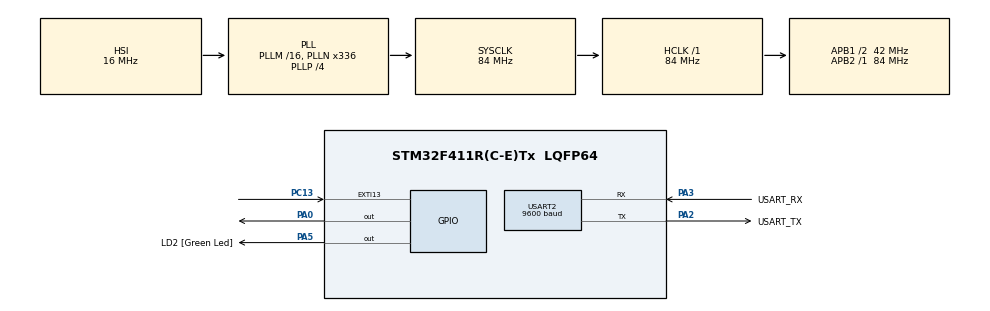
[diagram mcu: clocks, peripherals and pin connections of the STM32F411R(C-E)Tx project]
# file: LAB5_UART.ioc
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Dma.Request0=USART2_TX
Dma.USART2_TX.0.Direction=DMA_MEMORY_TO_PERIPH
Dma.USART2_TX.0.FIFOMode=DMA_FIFOMODE_DISABLE
Dma.USART2_TX.0.Instance=DMA1_Stream6
Dma.USART2_TX.0.MemDataAlignment=DMA_MDATAALIGN_BYTE
Dma.USART2_TX.0.MemInc=DMA_MINC_ENABLE
Dma.USART2_TX.0.Mode=DMA_NORMAL
Dma.USART2_TX.0.PeriphDataAlignment=DMA_PDATAALIGN_BYTE
Dma.USART2_TX.0.PeriphInc=DMA_PINC_DISABLE
Dma.USART2_TX.0.Priority=DMA_PRIORITY_LOW
Mcu.Family=STM32F4
Mcu.Name=STM32F411R(C-E)Tx
Mcu.Package=LQFP64
NVIC.DMA1_Stream6_IRQn=true\:0\:0\:false\:false\:true\:false\:true\:true
NVIC.EXTI15_10_IRQn=true\:0\:0\:false\:false\:true\:true\:true\:true
NVIC.PriorityGroup=NVIC_PRIORITYGROUP_0
NVIC.USART2_IRQn=true\:0\:0\:false\:false\:true\:true\:true\:true
PA0-WKUP.Signal=GPIO_Output
PA13.GPIO_Label=TMS
PA13.Mode=Serial_Wire
PA13.Signal=SYS_JTMS-SWDIO
PA14.GPIO_Label=TCK
PA14.Mode=Serial_Wire
PA14.Signal=SYS_JTCK-SWCLK
PA2.GPIO_Label=USART_TX
PA2.Mode=Asynchronous
PA2.Signal=USART2_TX
PA3.GPIO_Label=USART_RX
PA3.Mode=Asynchronous
PA3.Signal=USART2_RX
PA5.GPIO_Label=LD2 [Green Led]
PA5.Signal=GPIO_Output
PB3.GPIO_Label=SWO
PB3.Signal=SYS_JTDO-SWO
PC13-ANTI_TAMP.GPIO_ModeDefaultEXTI=GPIO_MODE_IT_RISING_FALLING
PC13-ANTI_TAMP.Signal=GPXTI13
PC14-OSC32_IN.Mode=LSE-External-Oscillator
PC14-OSC32_IN.Signal=RCC_OSC32_IN
PC15-OSC32_OUT.Mode=LSE-External-Oscillator
PC15-OSC32_OUT.Signal=RCC_OSC32_OUT
PH0\ -\ OSC_IN.Mode=HSE-External-Clock-Source
PH0\ -\ OSC_IN.Signal=RCC_OSC_IN
PH1\ -\ OSC_OUT.Mode=HSE-External-Clock-Source
PH1\ -\ OSC_OUT.Signal=RCC_OSC_OUT
ProjectManager.HeapSize=0x200
ProjectManager.StackSize=0x400
ProjectManager.TargetToolchain=STM32CubeIDE
RCC.48MHZClocksFreq_Value=84000000
RCC.AHBFreq_Value=84000000
RCC.APB1CLKDivider=RCC_HCLK_DIV2
RCC.APB1Freq_Value=42000000
RCC.APB1TimFreq_Value=84000000
RCC.APB2Freq_Value=84000000
RCC.APB2TimFreq_Value=84000000
RCC.CortexFreq_Value=84000000
RCC.FLatency-AdvancedSettings=FLASH_LATENCY_2
RCC.HCLKFreq_Value=84000000
RCC.HSE_VALUE=8000000
RCC.HSI_VALUE=16000000
RCC.PLLN=336
RCC.PLLP=RCC_PLLP_DIV4
RCC.SYSCLKFreq_VALUE=84000000
RCC.SYSCLKSource=RCC_SYSCLKSOURCE_PLLCLK
RCC.VCOOutputFreq_Value=336000000
USART2.BaudRate=9600
USART2.VirtualMode=VM_ASYNC
board=NUCLEO-F411RE

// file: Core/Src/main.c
/* USER CODE BEGIN Header */
/**
  ******************************************************************************
  * @file           : main.c
  * @brief          : Main program body
  ******************************************************************************
  * @attention
  *
  * Copyright (c) 2023 STMicroelectronics.
  * All rights reserved.
  *
  * This software is licensed under terms that can be found in the LICENSE file
  * in the root directory of this software component.
  * If no LICENSE file comes with this software, it is provided AS-IS.
  *
  ******************************************************************************
  */
/* USER CODE END Header */
#include "main.h"

/* USER CODE BEGIN Includes */
//Natchanon 17
#include "stdio.h"
#include "string.h"
/* USER CODE END Includes */

UART_HandleTypeDef huart2;
DMA_HandleTypeDef hdma_usart2_tx;

/* USER CODE BEGIN PV */
uint8_t RxBuffer[1];
uint8_t TxBuffer[400];
enum{menuhold,ledc,btns} state = menuhold;
int freq = 0;
int led = 1;
/* USER CODE END PV */

void SystemClock_Config(void);
static void MX_GPIO_Init(void);
static void MX_DMA_Init(void);
static void MX_USART2_UART_Init(void);
/* USER CODE BEGIN PFP */
void Menu();
void LEDTask();
void UARTInterruptConfig();
/* USER CODE END PFP */

int main(void)
{

  /* MCU Configuration--------------------------------------------------------*/

  /* Reset of all peripherals, Initializes the Flash interface and the Systick. */
  HAL_Init();

  /* Configure the system clock */
  SystemClock_Config();

  /* Initialize all configured peripherals */
  MX_GPIO_Init();
  MX_DMA_Init();
  MX_USART2_UART_Init();
  /* USER CODE BEGIN 2 */
  UARTInterruptConfig();
  sprintf((char*)TxBuffer,
		  	"\r\n"
		  	"\r\n"
		  	"\r\n"
			"====================================\r\n"
			"--------[F411RE Controller]--------\r\n"
			"Button 0 : LED Control\r\n"
			"Button 1 : Button Status\r\n"
			"Please select the function above...\r\n"
			"====================================\r\n"
			"\r\n");
  HAL_UART_Transmit_DMA(&huart2, TxBuffer, strlen((char*)TxBuffer));
  /* USER CODE END 2 */

  /* Infinite loop */
  while (1)
  {

    /* USER CODE BEGIN 3 */
	  HAL_GPIO_TogglePin(GPIOA,GPIO_PIN_0);
	  if(led == 1) LEDTask();
	  else HAL_GPIO_WritePin(LD2_GPIO_Port, LD2_Pin,0);
  }
  /* USER CODE END 3 */
}

void SystemClock_Config(void)
{
  RCC_OscInitTypeDef RCC_OscInitStruct = {0};
  RCC_ClkInitTypeDef RCC_ClkInitStruct = {0};

  /** Configure the main internal regulator output voltage
  */
  __HAL_RCC_PWR_CLK_ENABLE();
  __HAL_PWR_VOLTAGESCALING_CONFIG(PWR_REGULATOR_VOLTAGE_SCALE1);

  /** Initializes the RCC Oscillators according to the specified parameters
  * in the RCC_OscInitTypeDef structure.
  */
  RCC_OscInitStruct.OscillatorType = RCC_OSCILLATORTYPE_HSI;
  RCC_OscInitStruct.HSIState = RCC_HSI_ON;
  RCC_OscInitStruct.HSICalibrationValue = RCC_HSICALIBRATION_DEFAULT;
  RCC_OscInitStruct.PLL.PLLState = RCC_PLL_ON;
  RCC_OscInitStruct.PLL.PLLSource = RCC_PLLSOURCE_HSI;
  RCC_OscInitStruct.PLL.PLLM = 16;
  RCC_OscInitStruct.PLL.PLLN = 336;
  RCC_OscInitStruct.PLL.PLLP = RCC_PLLP_DIV4;
  RCC_OscInitStruct.PLL.PLLQ = 4;
  if (HAL_RCC_OscConfig(&RCC_OscInitStruct) != HAL_OK)
  {
    Error_Handler();
  }

  /** Initializes the CPU, AHB and APB buses clocks
  */
  RCC_ClkInitStruct.ClockType = RCC_CLOCKTYPE_HCLK|RCC_CLOCKTYPE_SYSCLK
                              |RCC_CLOCKTYPE_PCLK1|RCC_CLOCKTYPE_PCLK2;
  RCC_ClkInitStruct.SYSCLKSource = RCC_SYSCLKSOURCE_PLLCLK;
  RCC_ClkInitStruct.AHBCLKDivider = RCC_SYSCLK_DIV1;
  RCC_ClkInitStruct.APB1CLKDivider = RCC_HCLK_DIV2;
  RCC_ClkInitStruct.APB2CLKDivider = RCC_HCLK_DIV1;

  if (HAL_RCC_ClockConfig(&RCC_ClkInitStruct, FLASH_LATENCY_2) != HAL_OK)
  {
    Error_Handler();
  }
}

static void MX_USART2_UART_Init(void)
{

  huart2.Instance = USART2;
  huart2.Init.BaudRate = 9600;
  huart2.Init.WordLength = UART_WORDLENGTH_8B;
  huart2.Init.StopBits = UART_STOPBITS_1;
  huart2.Init.Parity = UART_PARITY_NONE;
  huart2.Init.Mode = UART_MODE_TX_RX;
  huart2.Init.HwFlowCtl = UART_HWCONTROL_NONE;
  huart2.Init.OverSampling = UART_OVERSAMPLING_16;
  if (HAL_UART_Init(&huart2) != HAL_OK)
  {
    Error_Handler();
  }

}

static void MX_DMA_Init(void)
{

  /* DMA controller clock enable */
  __HAL_RCC_DMA1_CLK_ENABLE();

  /* DMA interrupt init */
  /* DMA1_Stream6_IRQn interrupt configuration */
  HAL_NVIC_SetPriority(DMA1_Stream6_IRQn, 0, 0);
  HAL_NVIC_EnableIRQ(DMA1_Stream6_IRQn);

}

static void MX_GPIO_Init(void)
{
  GPIO_InitTypeDef GPIO_InitStruct = {0};

  /* GPIO Ports Clock Enable */
  __HAL_RCC_GPIOC_CLK_ENABLE();
  __HAL_RCC_GPIOH_CLK_ENABLE();
  __HAL_RCC_GPIOA_CLK_ENABLE();
  __HAL_RCC_GPIOB_CLK_ENABLE();

  /*Configure GPIO pin Output Level */
  HAL_GPIO_WritePin(GPIOA, GPIO_PIN_0|LD2_Pin, GPIO_PIN_RESET);

  /*Configure GPIO pin : PC13 */
  GPIO_InitStruct.Pin = GPIO_PIN_13;
  GPIO_InitStruct.Mode = GPIO_MODE_IT_RISING_FALLING;
  GPIO_InitStruct.Pull = GPIO_NOPULL;
  HAL_GPIO_Init(GPIOC, &GPIO_InitStruct);

  /*Configure GPIO pins : PA0 LD2_Pin */
  GPIO_InitStruct.Pin = GPIO_PIN_0|LD2_Pin;
  GPIO_InitStruct.Mode = GPIO_MODE_OUTPUT_PP;
  GPIO_InitStruct.Pull = GPIO_NOPULL;
  GPIO_InitStruct.Speed = GPIO_SPEED_FREQ_LOW;
  HAL_GPIO_Init(GPIOA, &GPIO_InitStruct);

  /* EXTI interrupt init*/
  HAL_NVIC_SetPriority(EXTI15_10_IRQn, 0, 0);
  HAL_NVIC_EnableIRQ(EXTI15_10_IRQn);

}

/* USER CODE BEGIN 4 */
void LEDTask()
{
	static uint32_t timestamp = 0;
	if(HAL_GetTick() >= timestamp)
	{
		timestamp = HAL_GetTick()+(1000/(freq*2));
		HAL_GPIO_TogglePin(LD2_GPIO_Port, LD2_Pin);
	}
}

void UARTInterruptConfig()
{
	HAL_UART_Receive_IT(&huart2, RxBuffer, 1);
}

void HAL_UART_RxCpltCallback(UART_HandleTypeDef *huart)
{
	if(huart == &huart2)
	{
		RxBuffer[1] = '\0';
		Menu();
		HAL_UART_Receive_IT(&huart2, RxBuffer, 1);
	}

}

void HAL_GPIO_EXTI_Callback(uint16_t GPIO_Pin)
{
	if(GPIO_Pin == GPIO_PIN_13)
	{
		if(state == btns && HAL_GPIO_ReadPin(GPIOC, GPIO_PIN_13) == GPIO_PIN_RESET)
		{
			sprintf((char*)TxBuffer,"You just press the button\r\n");
			HAL_UART_Transmit_DMA(&huart2, TxBuffer, strlen((char*)TxBuffer));
		}
		else if (state == btns && HAL_GPIO_ReadPin(GPIOC, GPIO_PIN_13) != GPIO_PIN_RESET)
		{
			sprintf((char*)TxBuffer,"You just release the button\r\n");
			HAL_UART_Transmit_DMA(&huart2, TxBuffer, strlen((char*)TxBuffer));
		}
	}
}

void Menu()
{
	switch(state)
	{
		case menuhold:
				if(RxBuffer[0] == '0')
				{
					sprintf((char*)TxBuffer,
						"You selected --> 0 : LED Control\r\n"
						"\r\n"
						"====================================\r\n"
						"[LED Control Menu]\r\n"
						"Button a : Speed Up +1 Hz\r\n"
						"Button s : Speed Down -1 Hz\r\n"
						"Button d : On/Off\r\n"
						"Button x : back\r\n"
						"Please select the function above...\r\n"
						"====================================\r\n"
						"\r\n");
					HAL_UART_Transmit_DMA(&huart2, TxBuffer, strlen((char*)TxBuffer));
					state = ledc;
				}
				else if(RxBuffer[0] == '1')
				{
					sprintf((char*)TxBuffer,
						"You selected --> 1 : Button Status\r\n"
						"\r\n"
						"====================================\r\n"
						"[Check Button Status]\r\n"
						"Button x : back\r\n"
						"->Button Status will show when you press it and unpress it<-\r\n"
						"====================================\r\n"
						"\r\n");
					HAL_UART_Transmit_DMA(&huart2, TxBuffer, strlen((char*)TxBuffer));
					state = btns;
				}
				else
				{

					sprintf((char*)TxBuffer,"There's no function %s from that you called\r\n\r\n",RxBuffer);
					HAL_UART_Transmit_DMA(&huart2, TxBuffer, strlen((char*)TxBuffer));
				}
			break;

		case ledc:
				if(RxBuffer[0] == 'a')
				{
					if(led == 0)
					{
						sprintf((char*)TxBuffer,
								"Please turn on your LED first\r\n\r\n");
						HAL_UART_Transmit_DMA(&huart2, TxBuffer, strlen((char*)TxBuffer));
					}
					else
					{
						freq++;
						sprintf((char*)TxBuffer,
								"Speed Up +1 Hz\r\n"
								"Current Speed : %d Hz\r\n"
								"\r\n",freq);
						HAL_UART_Transmit_DMA(&huart2, TxBuffer, strlen((char*)TxBuffer));
					}
				}
				else if(RxBuffer[0] == 's')
				{
					if(led == 0)
					{
						sprintf((char*)TxBuffer,"Please turn on your LED first\r\n\r\n");
						HAL_UART_Transmit_DMA(&huart2, TxBuffer, strlen((char*)TxBuffer));
					}
					else
					{
						if(freq > 0)
						{
							freq--;
							sprintf((char*)TxBuffer,
									"Speed Up -1 Hz\r\n"
									"Current Speed : %d Hz\r\n"
									"\r\n",freq);
							HAL_UART_Transmit_DMA(&huart2, TxBuffer, strlen((char*)TxBuffer));
						}
						else
						{
							freq = 0;
							sprintf((char*)TxBuffer,
									"Frequency cannot be less than 0\r\n"
									"Current Speed : %d Hz\r\n"
									"\r\n",freq);
							HAL_UART_Transmit_DMA(&huart2, TxBuffer, strlen((char*)TxBuffer));
						}
					}
				}
				else if(RxBuffer[0] == 'd')
				{
					if(led == 0)
					{
						led = 1;
						sprintf((char*)TxBuffer,"LED On\r\n\r\n");
						HAL_UART_Transmit_DMA(&huart2, TxBuffer, strlen((char*)TxBuffer));
					}
					else
					{
						led = 0;
						sprintf((char*)TxBuffer,"LED Off\r\n\r\n");
						HAL_UART_Transmit_DMA(&huart2, TxBuffer, strlen((char*)TxBuffer));
					}
				}
				else if(RxBuffer[0] == 'x')
				{
					sprintf((char*)TxBuffer,
							"====================================\r\n"
							"--------[F411RE Controller]--------\r\n"
							"Button 0 : LED Control\r\n"
							"Button 1 : Button Status\r\n"
							"Please select the function above...\r\n"
							"====================================\r\n"
							"\r\n");
					HAL_UART_Transmit_DMA(&huart2, TxBuffer, strlen((char*)TxBuffer));
					state = menuhold;
				}
				else
				{
					sprintf((char*)TxBuffer,"There's no function %s from that you called\r\n\r\n",RxBuffer);
					HAL_UART_Transmit_DMA(&huart2, TxBuffer, strlen((char*)TxBuffer));
				}
			break;

		case btns:
			if(RxBuffer[0] == 'x')
			{
				sprintf((char*)TxBuffer,
						"====================================\r\n"
						"--------[F411RE Controller]--------\r\n"
						"Button 0 : LED Control\r\n"
						"Button 1 : Button Status\r\n"
						"Please select the function above...\r\n"
						"====================================\r\n"
						"\r\n");
				HAL_UART_Transmit_DMA(&huart2, TxBuffer, strlen((char*)TxBuffer));
				state = menuhold;
			}
			else
			{
				sprintf((char*)TxBuffer,"There's no function %s from that you called\r\n\r\n",RxBuffer);
				HAL_UART_Transmit_DMA(&huart2, TxBuffer, strlen((char*)TxBuffer));
			}
			break;
	}
}
/* USER CODE END 4 */

void Error_Handler(void)
{
  __disable_irq();
  while (1)
  {
  }
}
